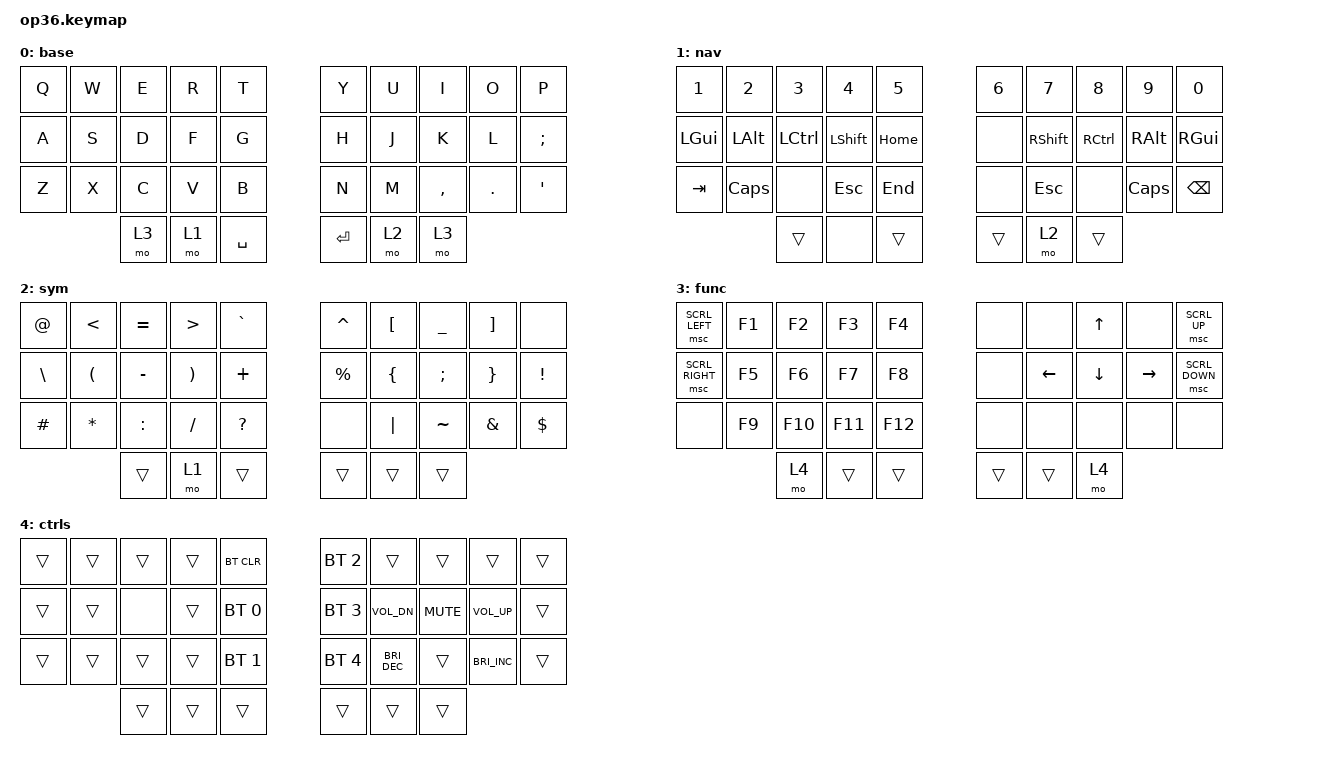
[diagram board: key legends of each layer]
#include "keys_ru.h"
#include <behaviors.dtsi>
#include <dt-bindings/zmk/bt.h>
#include <dt-bindings/zmk/keys.h>
#include <dt-bindings/zmk/pointing.h>

&mt {
    quick-tap-ms = <200>;
    flavor = "tap-preferred";
    require-prior-idle-ms = <125>;
};

/ {
    behaviors {
        hml: home_row_mod_left {
            compatible = "zmk,behavior-hold-tap";
            #binding-cells = <2>;
            flavor = "balanced";
            require-prior-idle-ms = <150>;
            tapping-term-ms = <280>;
            quick-tap-ms = <175>;
            bindings = <&kp>, <&kp>;

            hold-trigger-key-positions = <5 6 7 8 9 15 16 17 18 19 25 26 27 28 29 33 34 35>;
            hold-trigger-on-release;
        };

        hmr: home_row_mod_right {
            compatible = "zmk,behavior-hold-tap";
            #binding-cells = <2>;
            flavor = "balanced";
            require-prior-idle-ms = <150>;
            tapping-term-ms = <280>;
            quick-tap-ms = <175>;
            bindings = <&kp>, <&kp>;

            hold-trigger-key-positions = <0 1 2 3 4 10 11 12 13 14 20 21 22 23 24 30 31 32>;
            hold-trigger-on-release;
        };
    };

    combos {
        compatible = "zmk,combos";

        ru_comma {
            bindings = <&kp LS(NUMBER_6)>;
            key-positions = <26 27>;
        };

        ru_dot {
            bindings = <&kp LS(NUMBER_7)>;
            key-positions = <27 28>;
        };
    };

     keymap {
        compatible = "zmk,keymap";

        base {
            bindings = <
  &kp Q  &kp W  &kp E  &kp R  &kp T                          &kp Y  &kp U  &kp I      &kp O    &kp P
  &kp A  &kp S  &kp D  &kp F  &kp G                          &kp H  &kp J  &kp K      &kp L    &kp SEMICOLON
  &kp Z  &kp X  &kp C  &kp V  &kp B                          &kp N  &kp M  &kp COMMA  &kp DOT  &kp SQT
                       &mo 3  &mo 1  &kp SPACE    &kp ENTER  &mo 2  &mo 3
            >;
        };

        nav {
            bindings = <
  &kp N1        &kp N2        &kp N3            &kp N4          &kp N5                      &kp N6  &kp N7           &kp N8             &kp N9         &kp N0
  &kp LEFT_GUI  &kp LALT      &kp LEFT_CONTROL  &kp LEFT_SHIFT  &kp HOME                    &none   &kp RIGHT_SHIFT  &kp RIGHT_CONTROL  &kp RIGHT_ALT  &kp RIGHT_GUI
  &kp TAB       &kp CAPSLOCK  &none             &kp ESCAPE      &kp END                     &none   &kp ESCAPE       &none              &kp CAPSLOCK   &kp BACKSPACE
                                                &trans          &none     &trans    &trans  &mo 2   &trans
            >;
        };

        sym {
            bindings = <
  &kp AT         &kp LT                &kp EQUAL  &kp GT                 &kp GRAVE                       &kp CARET  &kp LBKT        &kp UNDER      &kp RBKT         &none
  &kp BACKSLASH  &kp LEFT_PARENTHESIS  &kp MINUS  &kp RIGHT_PARENTHESIS  &kp PLUS                        &kp PRCNT  &kp LEFT_BRACE  &kp SEMICOLON  &kp RIGHT_BRACE  &kp EXCLAMATION
  &kp HASH       &kp STAR              &kp COLON  &kp FSLH               &kp QUESTION                    &none      &kp PIPE        &kp TILDE      &kp AMPS         &kp DLLR
                                                  &trans                 &mo 1         &trans    &trans  &trans     &trans
            >;
        };

        func {
            bindings = <
  &msc SCRL_LEFT   &kp F1  &kp F2   &kp F3   &kp F4                     &none   &none           &kp UP_ARROW    &none            &msc SCRL_UP
  &msc SCRL_RIGHT  &kp F5  &kp F6   &kp F7   &kp F8                     &none   &kp LEFT_ARROW  &kp DOWN_ARROW  &kp RIGHT_ARROW  &msc SCRL_DOWN
  &none            &kp F9  &kp F10  &kp F11  &kp F12                    &none   &none           &none           &none            &none
                                    &mo 4    &trans   &trans    &trans  &trans  &mo 4
            >;
        };

        ctrls {
            bindings = <
  &trans  &trans  &trans  &trans  &bt BT_CLR                      &bt BT_SEL 2  &trans                &trans      &trans                &trans
  &trans  &trans  &none   &trans  &bt BT_SEL 0                    &bt BT_SEL 3  &kp C_VOL_DN          &kp K_MUTE  &kp C_VOL_UP          &trans
  &trans  &trans  &trans  &trans  &bt BT_SEL 1                    &bt BT_SEL 4  &kp C_BRIGHTNESS_DEC  &trans      &kp C_BRIGHTNESS_INC  &trans
                          &trans  &trans        &trans    &trans  &trans        &trans
            >;
        };
    };
};
